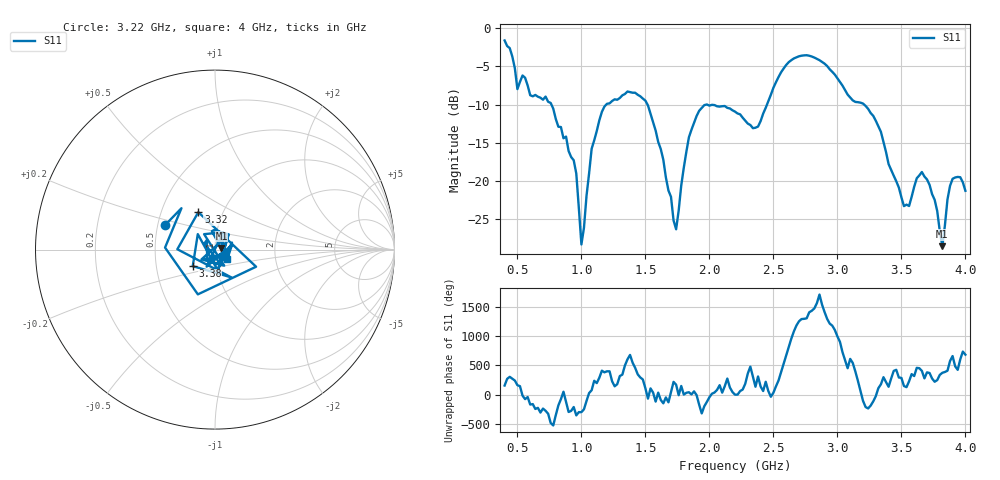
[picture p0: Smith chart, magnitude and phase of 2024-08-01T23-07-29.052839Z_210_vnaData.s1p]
!Created with skrf (http://scikit-rf.org).
# Hz S RI R 50.0
!freq ReS11 ImS11
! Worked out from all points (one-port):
!   181 points, 400 MHz to 4 GHz, reference 50 ohm
!   lowest |S11| = -28.5 dB at 3.82 GHz (marker M1), VSWR 1.08, Z = 53.7 + j1.04 ohm
!   |S11| at or under -10 dB: 1.517 GHz to 1.975 GHz (457.8 MHz wide, 26.2 % of centre); 1.983 GHz to 2.45 GHz (466.6 MHz wide, 21.1 % of centre); 3.209 GHz to end of sweep (the widest 3 of 4)
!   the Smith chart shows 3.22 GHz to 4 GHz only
!   S11 on the Smith chart (normalised r, x): 3.22 GHz: 0.55, +0.16; 3.32 GHz: 0.77, +0.34; 3.38 GHz: 0.77, -0.15; 4 GHz: 1.14, -0.12
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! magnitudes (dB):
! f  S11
! 400 MHz  -1.6
! 500 MHz  -8.0
! 720 MHz  -8.9
! 860 MHz  -14.4
! 960 MHz  -19.0
! 1 GHz  -28.3
! 1.08 GHz  -15.8
! 1.18 GHz  -10.2
! 1.3 GHz  -9.1
! 1.52 GHz  -10.1
! 1.74 GHz  -26.3
! 1.76 GHz  -23.9
! 1.84 GHz  -14.3
! 1.92 GHz  -10.8
! 2.2 GHz  -10.9
! 2.38 GHz  -12.9
! 2.66 GHz  -3.9
! 2.9 GHz  -4.6
! 3.1 GHz  -9.1
! 3.22 GHz  -10.2
! 3.32 GHz  -12.8
! 3.38 GHz  -16.2
! 3.56 GHz  -23.3
! 3.66 GHz  -18.8
! 3.76 GHz  -22.5
! 3.82 GHz  -28.5
! 3.9 GHz  -19.7
! 4 GHz  -21.3
